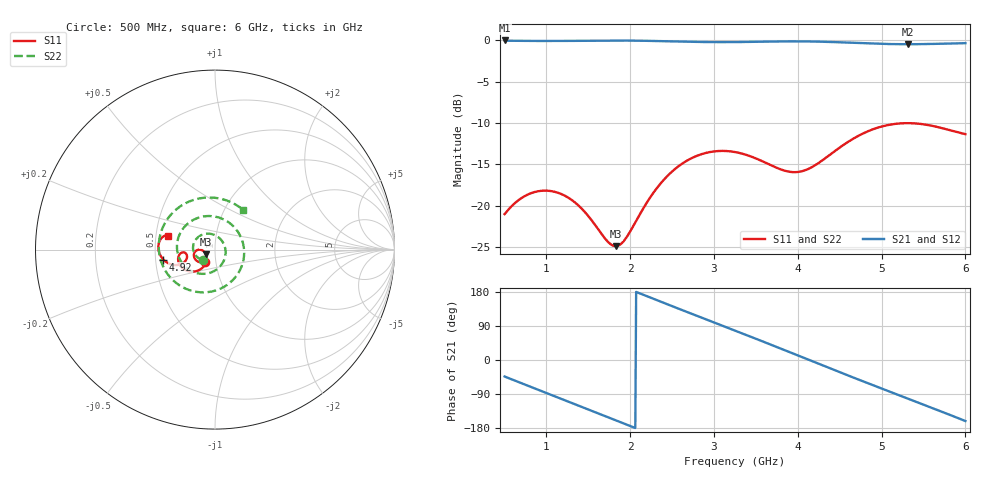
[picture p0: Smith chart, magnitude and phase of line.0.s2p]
! [1,1] [1,2] [2,1] [2,2] ?
# HZ S RI R 50
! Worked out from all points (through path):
!   551 points, 500 MHz to 6 GHz, reference 50 ohm
!   highest |S21| = 0.00 dB at 500 MHz (marker M1); lowest = -0.5 dB at 5.31 GHz (marker M2)
!   group delay of S21, straight-line fit = 241 ps
!   lowest |S11| = -24.9 dB at 1.83 GHz (marker M3), VSWR 1.12, Z = 45.1 - j2.3 ohm
!   |S11| at or under -10 dB: start of sweep to end of sweep
!   |S22| runs from -24.9 to -10.0 dB; largest |S21 - S12| = 0.005
!   S11 on the Smith chart (normalised r, x): 500 MHz: 0.89, -0.13; 4.92 GHz: 0.55, -0.07; 6 GHz: 0.58, +0.10
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5e8  -0.053 -0.0716  0.7252 -0.688  0.7202 -0.688  -0.0688 -0.0562
7.5e8  -0.0932 -0.0677  0.4141 -0.9029  0.4141 -0.9029  -0.1121 -0.0265
9.7e8  -0.1147 -0.0458  0.0975 -0.9875  0.0975 -0.9875  -0.1215 0.0225
1.19e9  -0.1155 -0.0192  -0.2296 -0.9662  -0.2296 -0.9662  -0.0945 0.0691
1.42e9  -0.0962 -0.00162  -0.5468 -0.8317  -0.5468 -0.8317  -0.0366 0.0889
1.83e9  -0.051 -0.0254  -0.9335 -0.3541  -0.9335 -0.3541  0.0551 0.0148
2.08e9  -0.0484 -0.0671  -0.9963 0.0214  -0.9963 0.0214  0.0455 -0.0692
2.34e9  -0.0774 -0.1073  -0.9053 0.4037  -0.9053 0.4037  -0.0281 -0.1293
2.59e9  -0.1254 -0.1229  -0.6868 0.7053  -0.6868 0.7053  -0.1262 -0.1221
2.81e9  -0.168 -0.1121  -0.4184 0.8855  -0.4184 0.8855  -0.1933 -0.0586
3.03e9  -0.197 -0.0838  -0.1097 0.9706  -0.1097 0.9706  -0.2107 0.0377
3.25e9  -0.2054 -0.0498  0.2098 0.9546  0.2098 0.9546  -0.1656 0.1313
3.5e9  -0.1922 -0.0213  0.5482 0.8137  0.5482 0.8137  -0.0525 0.1862
3.76e9  -0.1679 -0.0173  0.8238 0.5412  0.8238 0.5412  0.0826 0.1472
3.97e9  -0.1561 -0.0339  0.9546 0.2513  0.9546 0.2513  0.1526 0.0473
4.17e9  -0.1614 -0.0581  0.9838 -0.0516  0.9838 -0.0516  0.1545 -0.0747
4.51e9  -0.21 -0.086  0.8168 -0.5305  0.8168 -0.5305  0.00678 -0.2268
4.92e9  -0.2877 -0.0555  0.3517 -0.8891  0.3517 -0.8891  -0.2478 -0.1564
5.09e9  -0.3078 -0.0248  0.1182 -0.9438  0.1182 -0.9438  -0.3044 -0.0518
5.31e9  -0.3155 0.019  -0.1889 -0.9297  -0.1889 -0.9297  -0.298 0.1056
5.68e9  -0.2897 0.0721  -0.6518 -0.6972  -0.6518 -0.6972  -0.0914 0.2841
6e9  -0.2603 0.0764  -0.9103 -0.3126  -0.9103 -0.3126  0.1584 0.2202
